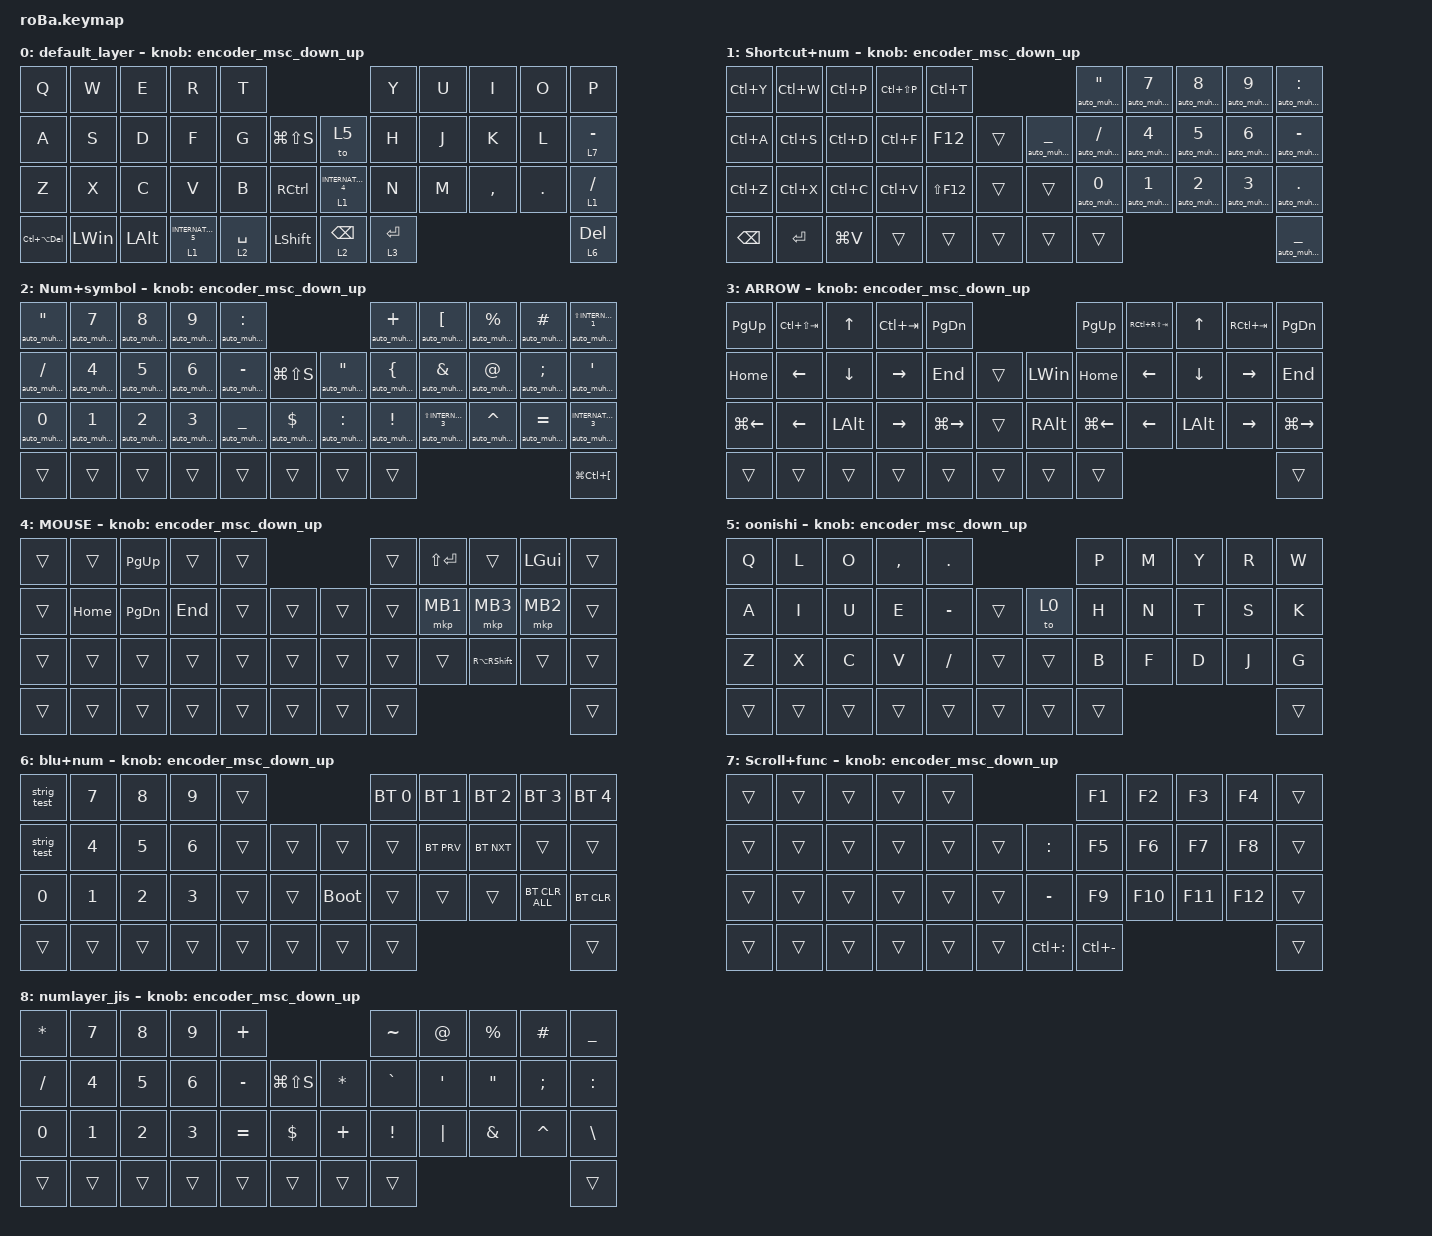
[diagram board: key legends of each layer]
#include <input/processors.dtsi>
#include <behaviors.dtsi>
#include <dt-bindings/zmk/bt.h>
#include <dt-bindings/zmk/keys.h>
#include <dt-bindings/zmk/pointing.h>

#define ZMK_POINTING_DEFAULT_SCRL_VAL 80

&mkp_input_listener { input-processors = <&zip_temp_layer 4 200>; };

// 長いとjklキーのマウスクリック後初回入力の邪魔になってうざい
// マウスクリックする→jキー入力しようとする→まだマウスレイヤーにいるのでクリックになる→じゃま
// これの設定の意図はダブルクリック受付ぐらいだと思うので受付時間ぐらいあればいい

&mt {
    flavor = "balanced";
    quick-tap-ms = <150>;
    tapping-term-ms = <150>;
};

&trackball {
    // automouse-layer = <4>;

    scroll-layers = <7>;

    // arrows {
    //     layers = <3>;
    //     bindings =
    //         <&kp RIGHT_ARROW>,
    //         <&kp LEFT_ARROW>,
    //         <&kp UP_ARROW>,
    //         <&kp DOWN_ARROW>;
    //     tick = <10>;
    //     wait-ms = <5>;
    //     tap-ms = <5>;
    // };
};

/ {
    combos {
        compatible = "zmk,combos";

        tab {
            bindings = <&kp TAB>;
            key-positions = <12 13>;
        };

        shift_tab {
            bindings = <&kp LS(TAB)>;
            key-positions = <12 11>;
        };

        shift+ctrl {
            bindings = <&kp LS(LCTRL)>;
            key-positions = <38 37>;
        };

        Left_Bracket {
            bindings = <&auto_muhenkan RIGHT_BRACKET>;
            key-positions = <3 13>;
            layers = <0 6>;
        };

        Right_Bracket {
            bindings = <&auto_muhenkan BACKSLASH>;
            key-positions = <4 14>;
            layers = <0 6>;
        };

        Left_Parenthesis {
            bindings = <&auto_muhenkan ASTERISK>;
            key-positions = <5 17>;
            layers = <0 6>;
        };

        Right_Parenthesis {
            bindings = <&auto_muhenkan LEFT_PARENTHESIS>;
            key-positions = <6 18>;
            layers = <0 6>;
        };

        Left_Brace {
            bindings = <&auto_muhenkan RIGHT_BRACE>;
            key-positions = <8 20>;
            layers = <0 6>;
        };

        Right_Brace {
            bindings = <&auto_muhenkan PIPE>;
            key-positions = <9 21>;
            layers = <0 6>;
        };

        file_open {
            bindings = <&file_open>;
            key-positions = <0 10>;
            layers = <1>;
        };

        file_close {
            bindings = <&file_close>;
            key-positions = <1 11>;
            layers = <1>;
        };

        scope_open {
            bindings = <&scope_open>;
            key-positions = <2 12>;
            layers = <1>;
        };

        scope_close {
            bindings = <&scope_close>;
            key-positions = <3 13>;
            layers = <1>;
        };

        left_sankaku {
            bindings = <&kp LS(COMMA)>;
            key-positions = <0 10>;
            layers = <0 5>;
        };

        right_sankaku {
            bindings = <&kp LS(PERIOD)>;
            key-positions = <11 1>;
            layers = <0 5>;
        };

        alt+shift {
            bindings = <&kp LA(LEFT_SHIFT)>;
            key-positions = <12 2>;
            layers = <0 5 4>;
        };

        escaperight {
            bindings = <&kp ESCAPE>;
            key-positions = <6 7>;
            layers = <2>;
        };

        win+tab {
            bindings = <&kp LG(TAB)>;
            key-positions = <7 19>;
            layers = <0 5 4>;
        };

        vwinleft {
            bindings = <&kp LG(LC(LEFT_ARROW))>;
            key-positions = <18 19>;
            layers = <0 5 4>;
        };

        vwinright {
            bindings = <&kp LG(LC(RIGHT_ARROW))>;
            key-positions = <19 20>;
            layers = <0 5 4>;
        };

        escapeleft {
            bindings = <&kp ESCAPE>;
            key-positions = <2 3>;
            layers = <2>;
        };

        f2 {
            bindings = <&kp F2>;
            key-positions = <7 19>;
            layers = <3>;
        };
    };

    macros {
        to_layer_0: to_layer_0 {
            compatible = "zmk,behavior-macro-one-param";
            #binding-cells = <1>;
            bindings = <&to 0 &macro_param_1to1 &kp MACRO_PLACEHOLDER>;
            label = "TO_LAYER_0";
        };

        file_close: file_collapse {
            compatible = "zmk,behavior-macro";
            #binding-cells = <0>;
            bindings = <&macro_tap>, <&kp LC(K) &kp LC(N0)>;

            label = "FILE_COLLAPSE";
        };

        file_open: file_expand {
            compatible = "zmk,behavior-macro";
            #binding-cells = <0>;
            bindings = <&macro_tap>, <&kp LC(K) &kp LC(J)>;

            label = "FILE_EXPAND";
        };

        scope_close: scope_collapse {
            compatible = "zmk,behavior-macro";
            #binding-cells = <0>;
            bindings = <&macro_tap>, <&kp LC(K) &kp LC(BACKSLASH)>;

            label = "SCOPE_COLLAPSE";
        };

        scope_open: scope_expand {
            compatible = "zmk,behavior-macro";
            #binding-cells = <0>;
            bindings = <&macro_tap>, <&kp LC(K) &kp LC(RIGHT_BRACKET)>;

            label = "SCOPE_EXPAND";
        };

        auto_muhenkan: auto_muhenkan {
            compatible = "zmk,behavior-macro-one-param";
            #binding-cells = <1>;
            bindings = <&kp INTERNATIONAL_5 &macro_param_1to1 &kp MACRO_PLACEHOLDER>;
            label = "AUTO_MUHENKAN";
        };

        strig_test: strig_test {
            compatible = "zmk,behavior-macro";
            #binding-cells = <0>;
            bindings = <&kp INTERNATIONAL_5 &kp LS(T) &kp E &kp S &kp T>;
            label = "STRIG_TEST";
        };

        back: back {
            compatible = "zmk,behavior-macro";
            #binding-cells = <0>;
            bindings = <&kp LEFT_ALT &kp LEFT_ARROW>;
            label = "BACK";
        };

        forward: forward {
            compatible = "zmk,behavior-macro";
            #binding-cells = <0>;
            bindings = <&kp LEFT_ALT &kp RIGHT_ARROW>;
            label = "FORWARD";
        };
    };

    behaviors {
        lt_to_layer_0: lt_to_layer_0 {
            compatible = "zmk,behavior-hold-tap";
            label = "LAYER_TAP_TO_0";
            bindings = <&mo>, <&to_layer_0>;

            #binding-cells = <2>;
            tapping-term-ms = <200>;
        };

        lt_hold: lt_hold {
            compatible = "zmk,behavior-hold-tap";
            label = "LT_HOLD";
            bindings = <&mo>, <&kp>;

            #binding-cells = <2>;
            tapping-term-ms = <250>;
            quick-tap-ms = <250>;
        };

        encoder_msc_up_down: encoder_msc_up_down {
            compatible = "zmk,behavior-sensor-rotate";
            label = "ENCODER_MSC_UP_DOWN";
            #sensor-binding-cells = <0>;
            bindings = <&msc SCRL_UP>, <&msc SCRL_DOWN>;

            tap-ms = <20>;
        };

        encoder_msc_down_up: encoder_msc_down_up {
            compatible = "zmk,behavior-sensor-rotate";
            label = "ENCODER_MSC_DOWN_UP";
            #sensor-binding-cells = <0>;
            bindings = <&msc SCRL_DOWN>, <&msc SCRL_UP>;

            tap-ms = <20>;
        };
    };

    keymap {
        compatible = "zmk,keymap";

        default_layer {
            bindings = <
&kp Q            &kp W         &kp E         &kp R                  &kp T                                                       &kp Y             &kp U  &kp I      &kp O       &kp P
&kp A            &kp S         &kp D         &kp F                  &kp G             &kp LG(LS(S))      &to 5                  &kp H             &kp J  &kp K      &kp L       &lt 7 MINUS
&kp Z            &kp X         &kp C         &kp V                  &kp B             &kp RCTRL          &lt 1 INTERNATIONAL_4  &kp N             &kp M  &kp COMMA  &kp PERIOD  &lt 1 SLASH
&kp LC(LA(DEL))  &kp LEFT_WIN  &kp LEFT_ALT  &lt 1 INTERNATIONAL_5  &lt_hold 2 SPACE  &kp LSHIFT         &lt_hold 2 BACKSPACE   &lt_hold 3 ENTER                                &lt 6 DELETE
            >;

            sensor-bindings = <&encoder_msc_down_up>;
        };

        Shortcut+num {
            bindings = <
&kp LC(Y)      &kp LC(W)  &kp LC(P)  &kp LC(LS(P))  &kp LC(T)                                           &auto_muhenkan DOUBLE_QUOTES  &auto_muhenkan N7  &auto_muhenkan N8  &auto_muhenkan N9  &auto_muhenkan COLON
&kp LC(A)      &kp LC(S)  &kp LC(D)  &kp LC(F)      &kp F12      &trans      &auto_muhenkan UNDERSCORE  &auto_muhenkan FSLH           &auto_muhenkan N4  &auto_muhenkan N5  &auto_muhenkan N6  &auto_muhenkan MINUS
&kp LC(Z)      &kp LC(X)  &kp LC(C)  &kp LC(V)      &kp LS(F12)  &trans      &trans                     &auto_muhenkan N0             &auto_muhenkan N1  &auto_muhenkan N2  &auto_muhenkan N3  &auto_muhenkan PERIOD
&kp BACKSPACE  &kp ENTER  &kp LG(V)  &trans         &trans       &trans      &trans                     &trans                                                                                 &auto_muhenkan UNDERSCORE
            >;

            sensor-bindings = <&encoder_msc_down_up>;
        };

        Num+symbol {
            bindings = <
&auto_muhenkan DOUBLE_QUOTES  &auto_muhenkan N7  &auto_muhenkan N8  &auto_muhenkan N9  &auto_muhenkan COLON                                                                &auto_muhenkan PLUS         &auto_muhenkan LEFT_BRACKET         &auto_muhenkan PERCENT  &auto_muhenkan HASH       &auto_muhenkan LS(INTERNATIONAL_1)
&auto_muhenkan SLASH          &auto_muhenkan N4  &auto_muhenkan N5  &auto_muhenkan N6  &auto_muhenkan MINUS       &kp LG(LS(S))              &auto_muhenkan DOUBLE_QUOTES  &auto_muhenkan LEFT_BRACE   &auto_muhenkan AMPERSAND            &auto_muhenkan AT       &auto_muhenkan SEMICOLON  &auto_muhenkan SQT
&auto_muhenkan N0             &auto_muhenkan N1  &auto_muhenkan N2  &auto_muhenkan N3  &auto_muhenkan UNDERSCORE  &auto_muhenkan DOLLAR      &auto_muhenkan COLON          &auto_muhenkan EXCLAMATION  &auto_muhenkan LS(INTERNATIONAL_3)  &auto_muhenkan CARET    &auto_muhenkan EQUAL      &auto_muhenkan INTERNATIONAL_3
&trans                        &trans             &trans             &trans             &trans                     &trans                     &trans                        &trans                                                                                                            &kp LG(LC(LEFT_BRACKET))
            >;

            sensor-bindings = <&encoder_msc_down_up>;
        };

        ARROW {
            bindings = <
&kp PAGE_UP         &kp LC(LS(TAB))  &kp UP_ARROW    &kp LC(TAB)      &kp PAGE_DOWN                                   &kp PAGE_UP   &kp RC(RS(TAB))  &kp UP        &kp RC(TAB)      &kp PAGE_DOWN
&kp HOME            &kp LEFT_ARROW   &kp DOWN_ARROW  &kp RIGHT_ARROW  &kp END              &trans      &kp LEFT_WIN   &kp HOME      &kp LEFT         &kp DOWN      &kp RIGHT        &kp END
&kp LG(LEFT_ARROW)  &kp LEFT_ARROW   &kp LEFT_ALT    &kp RIGHT_ARROW  &kp LG(RIGHT_ARROW)  &trans      &kp RIGHT_ALT  &kp LG(LEFT)  &kp LEFT_ARROW   &kp LEFT_ALT  &kp RIGHT_ARROW  &kp LG(RIGHT)
&trans              &trans           &trans          &trans           &trans               &trans      &trans         &trans                                                        &trans
            >;

            sensor-bindings = <&encoder_msc_down_up>;
        };

        MOUSE {
            bindings = <
&trans  &trans    &kp PAGE_UP    &trans   &trans                      &trans  &kp LS(ENTER)  &trans               &kp LEFT_GUI  &trans
&trans  &kp HOME  &kp PAGE_DOWN  &kp END  &trans  &trans      &trans  &trans  &mkp MB1       &mkp MB3             &mkp MB2      &trans
&trans  &trans    &trans         &trans   &trans  &trans      &trans  &trans  &trans         &kp RA(RIGHT_SHIFT)  &trans        &trans
&trans  &trans    &trans         &trans   &trans  &trans      &trans  &trans                                                    &trans
            >;

            sensor-bindings = <&encoder_msc_down_up>;
        };

        oonishi {
            bindings = <
&kp Q   &kp L   &kp O   &kp COMMA  &kp DOT                        &kp P   &kp M  &kp Y  &kp R  &kp W
&kp A   &kp I   &kp U   &kp E      &kp MINUS  &trans      &to 0   &kp H   &kp N  &kp T  &kp S  &kp K
&kp Z   &kp X   &kp C   &kp V      &kp SLASH  &trans      &trans  &kp B   &kp F  &kp D  &kp J  &kp G
&trans  &trans  &trans  &trans     &trans     &trans      &trans  &trans                       &trans
            >;

            sensor-bindings = <&encoder_msc_down_up>;
        };

        blu+num {
            bindings = <
&strig_test  &kp N7        &kp N8        &kp N9        &trans                           &bt BT_SEL 0  &bt BT_SEL 1  &bt BT_SEL 2  &bt BT_SEL 3    &bt BT_SEL 4
&strig_test  &kp N4        &kp N5        &kp N6        &trans  &trans      &trans       &trans        &bt BT_PRV    &bt BT_NXT    &trans          &trans
&kp N0       &kp NUMBER_1  &kp NUMBER_2  &kp NUMBER_3  &trans  &trans      &bootloader  &trans        &trans        &trans        &bt BT_CLR_ALL  &bt BT_CLR
&trans       &trans        &trans        &trans        &trans  &trans      &trans       &trans                                                    &trans
            >;

            sensor-bindings = <&encoder_msc_down_up>;
        };

        Scroll+func {
            bindings = <
&trans  &trans  &trans  &trans  &trans                             &kp F1         &kp F2   &kp F3   &kp F4   &trans
&trans  &trans  &trans  &trans  &trans  &trans      &kp COLON      &kp F5         &kp F6   &kp F7   &kp F8   &trans
&trans  &trans  &trans  &trans  &trans  &trans      &kp MINUS      &kp F9         &kp F10  &kp F11  &kp F12  &trans
&trans  &trans  &trans  &trans  &trans  &trans      &kp LC(COLON)  &kp LC(MINUS)                             &trans
            >;

            sensor-bindings = <&encoder_msc_down_up>;
        };

        numlayer_jis {
            bindings = <
&kp ASTERISK  &kp N7  &kp N8  &kp N9  &kp PLUS                                    &kp TILDE        &kp AT_SIGN  &kp PERCENT        &kp HASH       &kp UNDERSCORE
&kp SLASH     &kp N4  &kp N5  &kp N6  &kp MINUS  &kp LG(LS(S))      &kp ASTERISK  &kp GRAVE        &kp SQT      &kp DOUBLE_QUOTES  &kp SEMICOLON  &kp COLON
&kp N0        &kp N1  &kp N2  &kp N3  &kp EQUAL  &kp DOLLAR         &kp PLUS      &kp EXCLAMATION  &kp PIPE     &kp AMPERSAND      &kp CARET      &kp BACKSLASH
&trans        &trans  &trans  &trans  &trans     &trans             &trans        &trans                                                          &trans
            >;

            sensor-bindings = <&encoder_msc_down_up>;
        };
    };
};
